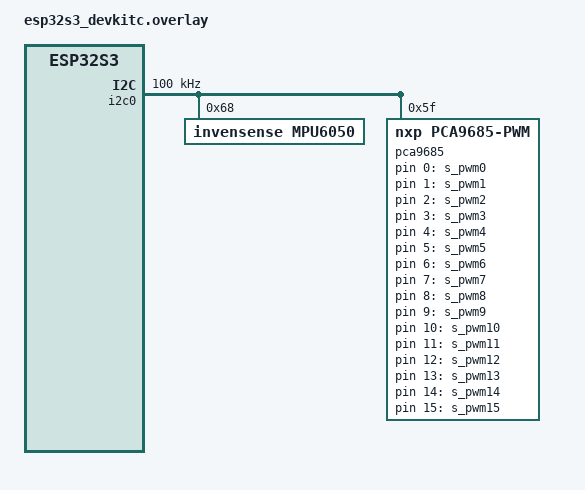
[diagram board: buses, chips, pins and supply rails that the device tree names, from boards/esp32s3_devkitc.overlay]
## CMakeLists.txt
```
set(BOARD nucleo_wl55jc)
cmake_minimum_required(VERSION 3.20.0)

find_package(Zephyr)
project(adeept_2wheelbot_zephyr)

# Option to choose between training mode and inference mode
option(USE_INFERENCE_MODE "Use pre-trained model inference instead of training" ON)

if(USE_INFERENCE_MODE)
    # Inference mode - uses pre-trained model
    message(STATUS "Building in INFERENCE mode - using pre-trained model")
    target_sources(app PRIVATE 
        src/main_inference.cpp 
        src/Motor.cpp
    )
else()
    # Training mode - trains on device
    message(STATUS "Building in TRAINING mode - trains on device")
    target_sources(app PRIVATE 
        src/main.cpp 
        src/DQNAgent.cpp 
        src/Motor.cpp
    )
endif()

# If you have any header files to include as well, 
# and they are not in your include path, you can use:
target_include_directories(app PRIVATE src/)

# Add path to the web simulator models directory for easy inclusion
target_include_directories(app PRIVATE ${CMAKE_CURRENT_SOURCE_DIR}/../twowheelbot-rl-web/models/)
```

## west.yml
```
manifest:
  defaults:
    remote: upstream

  remotes:
    - name: upstream
      url-base: https://github.com/zephyrproject-rtos

  projects:
    - name: zephyr
      remote: upstream
      revision: main
      import: true

  self:
    path: adeept-2wheelbot
```

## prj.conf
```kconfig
# Copyright (c) 2021 Nordic Semiconductor ASA
# SPDX-License-Identifier: Apache-2.0
#
# This file contains selected Kconfig options for the application.

CONFIG_I2C=y
CONFIG_I2C_INIT_PRIORITY=50
CONFIG_I2C_ESP32=y
CONFIG_SENSOR=y  
CONFIG_MPU6050=y
CONFIG_MPU6050_TRIGGER_NONE=y
CONFIG_CBPRINTF_FP_SUPPORT=y
CONFIG_LOG=y
CONFIG_I2C_LOG_LEVEL_DBG=y
CONFIG_SENSOR_LOG_LEVEL_DBG=y
CONFIG_PWM=y
CONFIG_PWM_PCA9685=y
CONFIG_CPP=y
CONFIG_STATIC_INIT_GNU=y

# Console support for manual control
CONFIG_CONSOLE=y
CONFIG_CONSOLE_SUBSYS=y
CONFIG_CONSOLE_GETCHAR=y

# UART configuration for serial data output
CONFIG_UART_CONSOLE=y
CONFIG_SERIAL=y

# Increase shell buffer for data logging (if shell is used)
# CONFIG_SHELL_BACKEND_SERIAL_TX_RING_BUFFER_SIZE=512

# Enable floating point printf for data output
CONFIG_NEWLIB_LIBC=y
CONFIG_NEWLIB_LIBC_FLOAT_PRINTF=y

# Optional: Increase stack size if needed
CONFIG_MAIN_STACK_SIZE=4096
```

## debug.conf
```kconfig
# Copyright (c) 2021 Nordic Semiconductor ASA
# SPDX-License-Identifier: Apache-2.0
#
# This is a Kconfig fragment which can be used to enable debug-related options
# in the application. See the README for more details.

# compiler
CONFIG_DEBUG_OPTIMIZATIONS=y

# console
CONFIG_CONSOLE=y

# UART console
CONFIG_SERIAL=y
CONFIG_UART_CONSOLE=y

# logging
CONFIG_LOG=y
CONFIG_APP_LOG_LEVEL_DBG=y
```

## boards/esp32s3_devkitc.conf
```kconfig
# ESP32-S3 specific configuration
CONFIG_SOC_SERIES_ESP32S3=y
CONFIG_I2C_ESP32=y
CONFIG_HEAP_MEM_POOL_SIZE=32768
CONFIG_ESP_SPIRAM=n
```

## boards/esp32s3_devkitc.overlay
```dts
/*
 * ESP32-S3 DevKitC I2C/IMU/PWM Configuration
 * Enable I2C0 with MPU6050 IMU and PCA9685 PWM controller
 */

#include <dt-bindings/pinctrl/esp32s3-pinctrl.h>
#include <dt-bindings/pwm/pwm.h>

/ {
	aliases {
		i2c-0 = &i2c0;
		pwm-0 = &pca9685;
	};
};

/* Custom pinctrl for GPIO8 (SDA) and GPIO9 (SCL) */
&pinctrl {
	i2c0_custom: i2c0_custom {
		group1 {
			pinmux = <I2C0_SDA_GPIO8>,
			         <I2C0_SCL_GPIO9>;
			bias-pull-up;
			drive-open-drain;
			output-high;
		};
	};
};

/* Enable I2C0 controller */
&i2c0 {
	status = "okay";
	clock-frequency = <I2C_BITRATE_STANDARD>;
	pinctrl-0 = <&i2c0_custom>;
	pinctrl-names = "default";
	
	mpu6050: mpu6050@68 {
		status = "okay";
		compatible = "invensense,mpu6050";
		reg = <0x68>;
	};
	
	pca9685: pca9685@5f {
		status = "okay";
		compatible = "nxp,pca9685-pwm";
		reg = <0x5f>;
		#pwm-cells = <2>;
	};
};

/ {
	pwmleds {
		status = "okay";
		compatible = "pwm-leds";

		s_pwm0: s_pwm_0 {
			pwms = <&pca9685 0 PWM_MSEC(20) PWM_POLARITY_NORMAL>;
		};
		s_pwm1: s_pwm_1 {
			pwms = <&pca9685 1 PWM_MSEC(20) PWM_POLARITY_NORMAL>;
		};
		s_pwm2: s_pwm_2 {
			pwms = <&pca9685 2 PWM_MSEC(20) PWM_POLARITY_NORMAL>;
		};
		s_pwm3: s_pwm_3 {
			pwms = <&pca9685 3 PWM_MSEC(20) PWM_POLARITY_NORMAL>;
		};
		s_pwm4: s_pwm_4 {
			pwms = <&pca9685 4 PWM_MSEC(20) PWM_POLARITY_NORMAL>;
		};
		s_pwm5: s_pwm_5 {
			pwms = <&pca9685 5 PWM_MSEC(20) PWM_POLARITY_NORMAL>;
		};
		s_pwm6: s_pwm_6 {
			pwms = <&pca9685 6 PWM_MSEC(20) PWM_POLARITY_NORMAL>;
		};
		s_pwm7: s_pwm_7 {
			pwms = <&pca9685 7 PWM_MSEC(20) PWM_POLARITY_NORMAL>;
		};
		s_pwm8: s_pwm_8 {
			pwms = <&pca9685 8 PWM_MSEC(20) PWM_POLARITY_NORMAL>;
		};
		s_pwm9: s_pwm_9 {
			pwms = <&pca9685 9 PWM_MSEC(20) PWM_POLARITY_NORMAL>;
		};
		s_pwm10: s_pwm_10 {
			pwms = <&pca9685 10 PWM_MSEC(20) PWM_POLARITY_NORMAL>;
		};
		s_pwm11: s_pwm_11 {
			pwms = <&pca9685 11 PWM_MSEC(20) PWM_POLARITY_NORMAL>;
		};
		s_pwm12: s_pwm_12 {
			pwms = <&pca9685 12 PWM_MSEC(20) PWM_POLARITY_NORMAL>;
		};
		s_pwm13: s_pwm_13 {
			pwms = <&pca9685 13 PWM_MSEC(20) PWM_POLARITY_NORMAL>;
		};
		s_pwm14: s_pwm_14 {
			pwms = <&pca9685 14 PWM_MSEC(20) PWM_POLARITY_NORMAL>;
		};
		s_pwm15: s_pwm_15 {
			pwms = <&pca9685 15 PWM_MSEC(20) PWM_POLARITY_NORMAL>;
		};
	};
};
```

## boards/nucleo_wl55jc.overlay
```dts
/*
 * Copyright (c) 2021 Nordic Semiconductor ASA
 * SPDX-License-Identifier: Apache-2.0
 */

/* This devicetree overlay file will be automatically picked by the Zephyr
 * build system when building the sample for the nucleo_f302r8 board. It shows
 * how the example-application can be built on sample boards already provided
 * by Zephyr.
 */

/* I2C device example */
&i2c2 {
     mpu6050: mpu6050@68 {
      status = "okay";
      compatible = "invensense,mpu6050";
      label = "MPU6050";
      reg = <0x68>;
     };
     pca9685: pca9685@5f {
      status = "okay";
      compatible = "nxp,pca9685-pwm";
      label = "PCA9685";
      reg = <0x5f>;
      #pwm-cells = <2>;
	};
};

/ {
	pwmleds {
		status = "okay";
		compatible = "pwm-leds";

		s_pwm0: s-pwm-0 {
			pwms = <&pca9685 0 PWM_MSEC(5) PWM_POLARITY_NORMAL>;
		};
		s_pwm1: s-pwm-1 {
			pwms = <&pca9685 1 PWM_MSEC(5) PWM_POLARITY_NORMAL>;
		};
		s_pwm2: s-pwm-2 {
			pwms = <&pca9685 2 PWM_MSEC(5) PWM_POLARITY_NORMAL>;
		};
		s_pwm3: s-pwm-3 {
			pwms = <&pca9685 3 PWM_MSEC(5) PWM_POLARITY_NORMAL>;
		};
		s_pwm4: s-pwm-4 {
			pwms = <&pca9685 4 PWM_MSEC(5) PWM_POLARITY_NORMAL>;
		};
		s_pwm5: s-pwm-5 {
			pwms = <&pca9685 5 PWM_MSEC(5) PWM_POLARITY_NORMAL>;
		};
		s_pwm6: s-pwm-6 {
			pwms = <&pca9685 6 PWM_MSEC(5) PWM_POLARITY_NORMAL>;
		};
		s_pwm7: s-pwm-7 {
			pwms = <&pca9685 7 PWM_MSEC(5) PWM_POLARITY_NORMAL>;
		};
		s_pwm8: s-pwm-8 {
			pwms = <&pca9685 8 PWM_MSEC(5) PWM_POLARITY_NORMAL>;
		};
		s_pwm9: s-pwm-9 {
			pwms = <&pca9685 9 PWM_MSEC(5) PWM_POLARITY_NORMAL>;
		};
		s_pwm10: s-pwm-10 {
			pwms = <&pca9685 10 PWM_MSEC(5) PWM_POLARITY_NORMAL>;
		};
		s_pwm11: s-pwm-11 {
			pwms = <&pca9685 11 PWM_MSEC(5) PWM_POLARITY_NORMAL>;
		};
		s_pwm12: s-pwm-12 {
			pwms = <&pca9685 12 PWM_MSEC(5) PWM_POLARITY_NORMAL>;
		};
		s_pwm13: s-pwm-13 {
			pwms = <&pca9685 13 PWM_MSEC(5) PWM_POLARITY_NORMAL>;
		};
		s_pwm14: s-pwm-14 {
			pwms = <&pca9685 14 PWM_MSEC(5) PWM_POLARITY_NORMAL>;
		};
		s_pwm15: s-pwm-15 {
			pwms = <&pca9685 15 PWM_MSEC(5) PWM_POLARITY_NORMAL>;
		};
	};
};
```

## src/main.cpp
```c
/* MIT License
Copyright (c) 2024 Oren Collaco

Permission is hereby granted, free of charge, to any person obtaining a copy
of this software and associated documentation files (the "Software"), to deal
in the Software without restriction, including without limitation the rights
to use, copy, modify, merge, publish, distribute, sublicense, and/or sell
copies of the Software, and to permit persons to whom the Software is
furnished to do so, subject to the following conditions:

The above copyright notice and this permission notice shall be included in all
copies or substantial portions of the Software.

THE SOFTWARE IS PROVIDED "AS IS", WITHOUT WARRANTY OF ANY KIND, EXPRESS OR
IMPLIED, INCLUDING BUT NOT LIMITED TO THE WARRANTIES OF MERCHANTABILITY,
FITNESS FOR A PARTICULAR PURPOSE AND NONINFRINGEMENT. IN NO EVENT SHALL THE
AUTHORS OR COPYRIGHT HOLDERS BE LIABLE FOR ANY CLAIM, DAMAGES OR OTHER
LIABILITY, WHETHER IN AN ACTION OF CONTRACT, TORT OR OTHERWISE, ARISING FROM,
OUT OF OR IN CONNECTION WITH THE SOFTWARE OR THE USE OR OTHER DEALINGS IN THE
SOFTWARE.

 */

/*
 * Copyright (c) 2021 Nordic Semiconductor ASA
 * SPDX-License-Identifier: Apache-2.0
 */

#include <zephyr/kernel.h>
#include <zephyr/devicetree.h>
#include <app_version.h>
#include "stdlib.h"
#include "DQNAgent.h"
#include "Motor.h"
#include <zephyr/device.h>
#include <zephyr/drivers/sensor.h>
#include <zephyr/drivers/pwm.h>

#include <zephyr/logging/log.h>
#include <stdio.h>

LOG_MODULE_REGISTER(main, CONFIG_APP_LOG_LEVEL);

const struct device *const mpu6050 = DEVICE_DT_GET_ONE(invensense_mpu6050);

static const char *now_str(void)
{
	static char buf[16]; /* ...HH:MM:SS.MMM */
	uint32_t now = k_uptime_get_32();
	unsigned int ms = now % MSEC_PER_SEC;
	unsigned int s;
	unsigned int min;
	unsigned int h;

	now /= MSEC_PER_SEC;
	s = now % 60U;
	now /= 60U;
	min = now % 60U;
	now /= 60U;
	h = now;

	snprintf(buf, sizeof(buf), "%u:%02u:%02u.%03u",
		 h, min, s, ms);
	return buf;
}

static int process_mpu6050(const struct device *dev)
{
	struct sensor_value temperature;
	struct sensor_value accel[3];
	struct sensor_value gyro[3];
	int rc = sensor_sample_fetch(dev);

	if(rc == -EBADMSG) {
		printf("Sample fetch error: %d\n", rc);
		return rc;
	}

	if (rc == 0) {
		rc = sensor_channel_get(dev, SENSOR_CHAN_ACCEL_XYZ,
					accel);
	}
	if (rc == 0) {
		rc = sensor_channel_get(dev, SENSOR_CHAN_GYRO_XYZ,
					gyro);
	}
	if (rc == 0) {
		rc = sensor_channel_get(dev, SENSOR_CHAN_DIE_TEMP,
					&temperature);
	}
	if (rc == 0) {
		printf("[%s]:%g Cel: "
		       "  accel %f %f %f m/s/s"
		       "  gyro  %f %f %f rad/s\n",
		       now_str(),
		       sensor_value_to_double(&temperature),
		       sensor_value_to_double(&accel[0]),
		       sensor_value_to_double(&accel[1]),
		       sensor_value_to_double(&accel[2]),
		       sensor_value_to_double(&gyro[0]),
		       sensor_value_to_double(&gyro[1]),
		       sensor_value_to_double(&gyro[2]));
	} else {
		printf("sample fetch/get failed: %d\n", rc);
	}

	return rc;
}

/* rolling average function that takes buffer array reference */
float rolling_average(float *buffer, int buffer_size, float new_value) {
	float sum = 0;
	for (int i = 0; i < buffer_size - 1; i++) {
		buffer[i] = buffer[i + 1];
		sum += buffer[i];
	}
	buffer[buffer_size - 1] = new_value;
	sum += new_value;
	return sum / buffer_size;
}

// Function to find the index of the maximum element in an array
int argmax(const float* array, int size) {
    int max_index = 0;
    for (int i = 1; i < size; ++i) {
        if (array[i] > array[max_index]) {
            max_index = i;
        }
    }
    return max_index;
}

// Function to find the maximum element in an array
float max_element(const float* array, int size) {
    float max_value = array[0];
    for (int i = 1; i < size; ++i) {
        if (array[i] > max_value) {
            max_value = array[i];
        }
    }
    return max_value;
}

#define ROLLING_AVERAGE_SIZE 8

int get_angle(const struct device *dev, float& angle){
	// Get the angle from the MPU6050
	struct sensor_value accel[3];
	static float angle_hist[ROLLING_AVERAGE_SIZE];
	int rc = sensor_sample_fetch(dev);

	if(rc == -EBADMSG) {
		printf("MP6050 fetch error: %d\n", rc);
		return rc;
	}

	if (rc == 0) {
		rc = sensor_channel_get(dev, SENSOR_CHAN_ACCEL_XYZ,
					accel);
		angle = rolling_average(angle_hist, ROLLING_AVERAGE_SIZE, sensor_value_to_double(&accel[1])/12.0);	
	}
	return 0;

}

int get_angular_velocity(const struct device *dev, float& angle_velocity){
	// Get the angular velocity from the MPU6050
	struct sensor_value gyro[3];
    static float angle_velocity_hist[ROLLING_AVERAGE_SIZE];
	int rc = sensor_sample_fetch(dev);

	if(rc == -EBADMSG) {
		printf("MP6050 fetch error: %d\n", rc);
		return rc;
	}

	if (rc == 0) {
		rc = sensor_channel_get(dev, SENSOR_CHAN_GYRO_XYZ,
					gyro);
		angle_velocity = rolling_average(angle_velocity_hist, ROLLING_AVERAGE_SIZE, sensor_value_to_double(&gyro[0])/6.0);	
	}
	return 0;
}

void get_next_state(float action[NUM_OUTPUTS], float next_state[NUM_INPUTS]) {
    // Calculate the motor speeds based on the action
    float motor_left = action[0] * 1000;
    float motor_right = action[1] * 1000;

    // Apply the motor speeds to the robot and wait for a short duration
    set_motor_speed((int16_t)motor_left, (int16_t)motor_right);
    k_sleep(K_MSEC(20));

    // Get the updated tilt angle and angular velocity after applying the action
    float updated_tilt_angle, updated_angular_velocity;
    get_angle(mpu6050, updated_tilt_angle);
    get_angular_velocity(mpu6050, updated_angular_velocity);

    // Store the updated state in the next_state array
    next_state[0] = updated_tilt_angle;
    next_state[1] = updated_angular_velocity;
}

void get_state(float state[NUM_INPUTS]) {
    // Get the tilt angle and angular velocity after applying the action
    float updated_tilt_angle, updated_angular_velocity;
    get_angle(mpu6050, updated_tilt_angle);
    get_angular_velocity(mpu6050, updated_angular_velocity);

    // Store the updated state in the next_state array
    state[0] = updated_tilt_angle;
    state[1] = updated_angular_velocity;
}

#ifdef CONFIG_MPU6050_TRIGGER
static struct sensor_trigger trigger;

static void handle_mpu6050_drdy(const struct device *dev,
				const struct sensor_trigger *trig)
{
	int rc = process_mpu6050(dev);

	if (rc != 0) {
		printf("cancelling trigger due to failure: %d\n", rc);
		(void)sensor_trigger_set(dev, trig, NULL);
		return;
	}
}
#endif /* CONFIG_MPU6050_TRIGGER */

const int NUM_EPISODES = 10000000;
const float LEARNING_RATE = 0.00001;
const float DISCOUNT_FACTOR = 0.90;
const int MAX_STEPS = 2;
const int MAX_TRANSITIONS = MAX_STEPS;
const float MIN_TILT_ANGLE = -30.0;
const float MAX_TILT_ANGLE = 30.0;

const float BETA1 = 0.9;
const float BETA2 = 0.999;
const float EPSILON = 0.01;

struct Transition {
	float state[NUM_INPUTS];
	float action[NUM_OUTPUTS];
	float reward;
	float next_state[NUM_INPUTS];
};

Transition transitions[MAX_TRANSITIONS];
DQNAgent agent(LEARNING_RATE, BETA1, BETA2, EPSILON);

int main(void)
{
	int ret;

	printf("Zephyr Adeept 2Wheel %s\n", APP_VERSION_STRING);

	agent.initialize(LEARNING_RATE, BETA1, BETA2, EPSILON);
	agent.print_stats();

	

	if (!device_is_ready(mpu6050)) {
		printf("Device %s is not ready. waiting...\n", mpu6050->name);
		while(!device_is_ready(mpu6050));
	}
	printf(" %s ready\n", mpu6050->name);

	initialize_pwm_driver();
	
	for (int i = 0; i < 20; i++) {
		int rc = 0;

		/* Print angle and angular velocity */
		float angle, angular_velocity;
		get_angle(mpu6050, angle);
		get_angular_velocity(mpu6050, angular_velocity);
		printf("Angle: %f, Angular Velocity: %f\n", angle, angular_velocity);

		set_motor_speed(0, 0);

		if (rc != 0) {
			break;
		}
		k_sleep(K_MSEC(20));
	}

	#ifdef CONFIG_MPU6050_TRIGGER
		trigger = (struct sensor_trigger) {
			.type = SENSOR_TRIG_DATA_READY,
			.chan = SENSOR_CHAN_ALL,
		};
		if (sensor_trigger_set(mpu6050, &trigger,
					handle_mpu6050_drdy) < 0) {
			printf("Cannot configure trigger\n");
			return 0;
		}
		printk("Configured for triggered sampling.\n");
	#endif
	
	int num_transitions = 0;

	///while(1);
	uint32_t start_time, end_time, train_time, inference_time;

	for (int episode = 0; episode < NUM_EPISODES; ++episode) {
        // Reset the environment (e.g., set the robot to a known initial state)
        // reset_robot();

        float tilt_angle, angular_velocity;
        float state[NUM_INPUTS];
        float action[NUM_OUTPUTS];
        float reward;
		bool is_episode_done = false;
		float error, old_error, error_change = 0.0;
		int count = 0;
        // Run the episode until a termination condition is met
        while (!is_episode_done) {
            // Get the current tilt angle and angular velocity from the MPU6050 sensor
            get_angle(mpu6050, tilt_angle);
            get_angular_velocity(mpu6050, angular_velocity);

            // Prepare the state input for the DQNAgent
            state[0] = tilt_angle;
            state[1] = angular_velocity;

            // Get the action from the DQNAgent
            agent.forward(state, action);

            // Scale the action outputs to motor speeds
            float motor_left = action[0] * 1000;
            float motor_right = action[1] * 1000;
        
            // Set the motor speeds and wait for the robot to move
            set_motor_speed((int16_t)motor_left, (int16_t)motor_right);
            k_sleep(K_MSEC(20));

            // Get the next state after taking the action
            float next_state[NUM_INPUTS];
            get_state(next_state);

			// Get the new action for training
			float next_action[NUM_OUTPUTS];
			agent.forward(next_state, next_action);

			float targets[NUM_OUTPUTS];

			// Calculate the reward based on the tilt angle and angular velocity
            reward = 0.0;
			/* calculate the difference in error after 3 iterations using count */
			// if (count == 0) {
			// 	old_error = next_state[0] - 0.115f;
			// 	if(old_error < 0)
			// 		old_error = -old_error;
			// }
			// count++;
			// if (count == 2) {
			// 	count = 0;
			// 	error = next_state[0] - 0.115;
			// 	if(error < 0)
			// 		error = -error;
			// 	error_change = old_error - error;
			// }

			// if(error_change < 0)
			// 	reward = -0.5;
			// else
			// 	reward = 0.2;
            if (abs(next_state[1]) < 0.1) {
				reward += 0.1; // Small positive reward for keeping angular velocity minimal
			} 
			else {
				reward -= 0.1; // Small negative reward for increasing angular velocity
			}
			error = next_state[0] - 0.115f;
			/* if error is +ve and moving forward = bad */
			if (error > 0 && next_action[0] > 0.0) {	
				reward -= 0.1;
				targets[0] = -0.4;
			/* if error is +ve and moving back = good */
			} else if (error > 0 && next_action[0] < 0.0) {
				reward += 0.1;
				targets[0] = next_action[0];
			/* if error is -ve and moving forward = good */
			} else if (error < 0 && next_action[0] > 0.0) {
				reward += 0.1;
				targets[0] = next_action[0];
			/* if error is -ve and moving back = bad */
			} else if (error < 0 && next_action[0] < 0.0) {
				reward -= 0.1;
				targets[0] = 0.4;
			}
			
            if (next_state[0] > 0.10 && next_state[0] < 0.13) {
                reward += 0.1;  // Positive reward for keeping the tilt angle in desired range
            } else if (next_state[0] < 0.10 || next_state[0] > 0.13) {
                reward -= 0.1;  // Negative reward for exceeding the tilt angle range
            }

			/* print input, motor values and reward */
			printf("Angle: %f, Angular Velocity: %f, Motor Left: %f, Motor Right: %f, Reward: %f, Error: %f\n", tilt_angle, angular_velocity, motor_left, motor_right, reward, error);
		
            // // Get the Q-values for the next state
            // float next_q_values[NUM_OUTPUTS];
            // agent.forward(next_state, next_q_values);

            // Calculate the target Q-value for the current state-action pair
            // float target_q_value = reward + DISCOUNT_FACTOR * *std::max_element(next_q_values, next_q_values + NUM_OUTPUTS);

            // Prepare the target Q-values for training
            //float targets[NUM_OUTPUTS];
            // for (int i = 0; i < NUM_OUTPUTS; ++i) {
            //     //targets[i] = reward + current_q_values[i] * DISCOUNT_FACTOR;
            //     targets[i] = current_q_values[i] * DISCOUNT_FACTOR;

            // }

            // Train the DQNAgent with the current state, targets, and reward
            agent.train(state, targets, reward);
        }

        printf("Episode %d completed\n", episode + 1);
    }

	return 0;
}
```

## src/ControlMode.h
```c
/**
 * Control Mode Selector for Two-Wheel Balancing Robot
 * 
 * Allows switching between different control algorithms:
 * - PID with Kalman filtering
 * - DQN (Deep Q-Network) 
 * - Manual control
 */

#ifndef CONTROL_MODE_H
#define CONTROL_MODE_H

enum class ControlMode {
    PID_MODE,     // PID controller with Kalman filter (default)
    DQN_MODE,     // Deep Q-Network trained model
    MANUAL_MODE,  // Direct manual control
    DISABLED      // Motors disabled for safety
};

class ControlModeManager {
private:
    ControlMode current_mode;
    ControlMode previous_mode;
    bool mode_changed;
    
public:
    ControlModeManager() {
        current_mode = ControlMode::PID_MODE;  // Default to PID as requested
        previous_mode = ControlMode::PID_MODE;
        mode_changed = false;
    }
    
    /**
     * Set control mode
     */
    void setMode(ControlMode mode) {
        if (mode != current_mode) {
            previous_mode = current_mode;
            current_mode = mode;
            mode_changed = true;
        }
    }
    
    /**
     * Get current control mode
     */
    ControlMode getMode() const {
        return current_mode;
    }
    
    /**
     * Get previous control mode
     */
    ControlMode getPreviousMode() const {
        return previous_mode;
    }
    
    /**
     * Check if mode has changed since last check
     */
    bool hasChanged() {
        bool changed = mode_changed;
        mode_changed = false;
        return changed;
    }
    
    /**
     * Get mode name as string for logging
     */
    const char* getModeName() const {
        switch (current_mode) {
            case ControlMode::PID_MODE:
                return "PID";
            case ControlMode::DQN_MODE:
                return "DQN";
            case ControlMode::MANUAL_MODE:
                return "MANUAL";
            case ControlMode::DISABLED:
                return "DISABLED";
            default:
                return "UNKNOWN";
        }
    }
    
    /**
     * Toggle between PID and DQN modes
     */
    void toggleMode() {
        if (current_mode == ControlMode::PID_MODE) {
            setMode(ControlMode::DQN_MODE);
        } else if (current_mode == ControlMode::DQN_MODE) {
            setMode(ControlMode::PID_MODE);
        }
    }
    
    /**
     * Emergency stop - disable motors
     */
    void emergencyStop() {
        setMode(ControlMode::DISABLED);
    }
    
    /**
     * Resume from emergency stop
     */
    void resume() {
        if (current_mode == ControlMode::DISABLED) {
            setMode(previous_mode);
        }
    }
    
    /**
     * Check if motors should be active
     */
    bool isMotorControlActive() const {
        return current_mode != ControlMode::DISABLED;
    }
};

#endif // CONTROL_MODE_H
```

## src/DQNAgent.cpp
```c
// DQNAgent.cpp
#include "DQNAgent.h"
#include "math.h"
#include <stdio.h>


float DQNAgent::random() {
    // Function to approximate randomness with added fluctuation
    random_value += random_step;
    
    // Generate a pseudo-random value using a simple linear congruential generator
    random_seed = (1103515245 * random_seed + 12345) % 2147483648;
    float random_float = 0.0;
    if (random_seed != 0) {
        random_float = static_cast<float>(random_seed) / 2147483648.0;
    }
    
    // Add a random fluctuation to the step size
    float fluctuation = random_float * random_fluctuation * 2 - random_fluctuation;
    random_value += fluctuation;
    
    // Wrap around if random_value exceeds 1.0 or falls below 0.0
    if (random_value >= 1.0) {
        random_value = random_value - 1.0;
    } else if (random_value < 0.0) {
        random_value = 1.0 + random_value;
    }
    
    return random_value;
}

DQNAgent::DQNAgent(float lr, float b1, float b2, float eps)
    : learning_rate(lr), beta1(b1), beta2(b2), epsilon(eps) {
    // Initialize weights with random values from a normal distribution
    initialize(lr, b1, b2, eps);
}

void DQNAgent::initialize(float lr, float b1, float b2, float eps) {
    learning_rate = lr;
    beta1 = b1;
    beta2 = b2;
    epsilon = eps;
    random_value = 0.1;
    random_step = 0.1;
    random_fluctuation = 0.05;
    random_seed = 1;

    // other initialization
    replay_buffer_size = 0;
    update_counter = 0;
    

    for (int i = 0; i < NUM_LAYERS; ++i) {
        int input_size = (i == 0) ? NUM_INPUTS : NEURONS_PER_LAYER;
        int output_size = (i == NUM_LAYERS - 1) ? NUM_OUTPUTS : NEURONS_PER_LAYER;

        for (int j = 0; j < input_size; ++j) {
            for (int k = 0; k < output_size; ++k) {
                weights[i][j][k] = random();
            }
        }
        // Initialize biases to zero
        for (int k = 0; k < output_size; ++k) {
            biases[i][k] = 0.0;
        }
    }
    // Initialize target network weights and biases
    for (int i = 0; i < NUM_LAYERS; ++i) {
        int input_size = (i == 0) ? NUM_INPUTS : NEURONS_PER_LAYER;
        int output_size = (i == NUM_LAYERS - 1) ? NUM_OUTPUTS : NEURONS_PER_LAYER;

        for (int j = 0; j < input_size; ++j) {
            for (int k = 0; k < output_size; ++k) {
                target_weights[i][j][k] = weights[i][j][k];
            }
        }
        for (int k = 0; k < output_size; ++k) {
            target_biases[i][k] = biases[i][k];
        }
    }
}

#ifdef STATS_PRINT
/* Function to print weights and biases */
void DQNAgent::print_stats() {
    /* print all variables */
    printf("learning_rate: %f\n", learning_rate);
    printf("beta1: %f\n", beta1);
    printf("beta2: %f\n", beta2);
    printf("epsilon: %f\n", epsilon);
    printf("random_value: %f\n", random_value);
    printf("random_step: %f\n", random_step);
    printf("random_fluctuation: %f\n", random_fluctuation);
    printf("random_seed: %d\n", random_seed);
    printf("update_counter: %d\n", update_counter);
    printf("replay_buffer_size: %d\n", replay_buffer_size);
    printf("REPLAY_BUFFER_CAPACITY: %d\n", REPLAY_BUFFER_CAPACITY);
    printf("MINIBATCH_SIZE: %d\n", MINIBATCH_SIZE);
    printf("TARGET_UPDATE_FREQ: %d\n", TARGET_UPDATE_FREQ);
    printf("EPSILON_DECAY: %f\n", EPSILON_DECAY);
    printf("MIN_EPSILON: %f\n", MIN_EPSILON);
    printf("LEARNING_RATE_DECAY: %f\n", LEARNING_RATE_DECAY);
    printf("MIN_LEARNING_RATE: %f\n", MIN_LEARNING_RATE);

    for (int i = 0; i < NUM_LAYERS; ++i) {
        int input_size = (i == 0) ? NUM_INPUTS : NEURONS_PER_LAYER;
        int output_size = (i == NUM_LAYERS - 1) ? NUM_OUTPUTS : NEURONS_PER_LAYER;

        for (int j = 0; j < input_size; ++j) {
            for (int k = 0; k < output_size; ++k) {
                printf(" W%d%d%d %f", i, j, k, weights[i][j][k]);
            }
            printf("\n");
        }
    }
    for (int i = 0; i < NUM_LAYERS; ++i) {
        int output_size = (i == NUM_LAYERS - 1) ? NUM_OUTPUTS : NEURONS_PER_LAYER;

        for (int k = 0; k < output_size; ++k) {
            printf(" B%d%d %f", i, k, biases[i][k]);
        }
        printf("\n");
    }
}
#endif

float DQNAgent::forward(const float inputs[NUM_INPUTS], float outputs[NUM_OUTPUTS]) {
    float activations[NUM_LAYERS + 1][NEURONS_PER_LAYER];
    for (int i = 0; i < NUM_INPUTS; ++i) {
        activations[0][i] = inputs[i];
    }

    for (int i = 0; i < NUM_LAYERS; ++i) {
        int input_size = (i == 0) ? NUM_INPUTS : NEURONS_PER_LAYER;
        int output_size = (i == NUM_LAYERS - 1) ? NUM_OUTPUTS : NEURONS_PER_LAYER;

        for (int k = 0; k < output_size; ++k) {
            activations[i + 1][k] = 0.0;
            for (int j = 0; j < input_size; ++j) {
                activations[i + 1][k] += activations[i][j] * weights[i][j][k];
            }
            activations[i + 1][k] += biases[i][k];
            activations[i + 1][k] = (i == NUM_LAYERS - 1) ? activations[i + 1][k] : tanh(activations[i + 1][k]);
        }
    }

    for (int i = 0; i < NUM_OUTPUTS; ++i) {
        outputs[i] = activations[NUM_LAYERS][i];
    }

    const float EPSILON = 1e-8;

    for (int i = 0; i < NUM_OUTPUTS; ++i) {
        // Apply sigmoid activation function to the output
        outputs[i] = 1.0 / (1.0 + exp(-activations[NUM_LAYERS][i]) + EPSILON);
        
        // Scale the output from (0, 1) to (-1, 1)
        outputs[i] = 2.0 * outputs[i] - 1.0;
    }

    return 0;
}

void DQNAgent::train(const float inputs[NUM_INPUTS], const float targets[NUM_OUTPUTS], float reward) {
    // Store current transition in replay buffer
    for (int i = 0; i < NUM_INPUTS; ++i) {
        replay_buffer[replay_buffer_size].inputs[i] = inputs[i];
    }
    for (int i = 0; i < NUM_OUTPUTS; ++i) {
        replay_buffer[replay_buffer_size].targets[i] = targets[i];
    }
    replay_buffer[replay_buffer_size].reward = reward;
    replay_buffer_size++;

    // If replay buffer is full, overwrite the oldest transition
    if (replay_buffer_size >= REPLAY_BUFFER_CAPACITY) {
        replay_buffer_size = 0;
    }

    // Sample a random minibatch of transitions from the replay buffer
    int minibatch_indices[MINIBATCH_SIZE];
    for (int i = 0; i < MINIBATCH_SIZE; ++i) {
        //minibatch_indices[i] = rand() % MIN(replay_buffer_size, REPLAY_BUFFER_CAPACITY);
        /* use recent */
        minibatch_indices[i] = (replay_buffer_size - MINIBATCH_SIZE + i + REPLAY_BUFFER_CAPACITY) % REPLAY_BUFFER_CAPACITY;
    }

    // Perform Q-learning updates on the minibatch
    for (int i = 0; i < MINIBATCH_SIZE; ++i) {
        int idx = minibatch_indices[i];
        float activations[NUM_LAYERS + 1][NEURONS_PER_LAYER];
        for (int j = 0; j < NUM_INPUTS; ++j) {
            activations[0][j] = replay_buffer[idx].inputs[j];
        }

        for (int j = 0; j < NUM_LAYERS; ++j) {
            int input_size = (j == 0) ? NUM_INPUTS : NEURONS_PER_LAYER;
            int output_size = (j == NUM_LAYERS - 1) ? NUM_OUTPUTS : NEURONS_PER_LAYER;

            for (int k = 0; k < output_size; ++k) {
                activations[j + 1][k] = 0.0;
                for (int m = 0; m < input_size; ++m) {
                    activations[j + 1][k] += activations[j][m] * weights[j][m][k];
                }
                activations[j + 1][k] += biases[j][k];
                activations[j + 1][k] = (j == NUM_LAYERS - 1) ? activations[j + 1][k] : tanh(activations[j + 1][k]);
            }
        }

        float deltas[NUM_LAYERS][NEURONS_PER_LAYER];
        for (int j = NUM_LAYERS - 1; j >= 0; --j) {
            int output_size = (j == NUM_LAYERS - 1) ? NUM_OUTPUTS : NEURONS_PER_LAYER;

            for (int k = 0; k < output_size; ++k) {
                if (j == NUM_LAYERS - 1) {
                    // Use target network for Q-value estimation
                    float target_value = 0.0;
                    for (int m = 0; m < NUM_OUTPUTS; ++m) {
                        target_value += replay_buffer[idx].targets[m] * target_weights[j][k][m];
                    }
                    target_value += target_biases[j][k];
                    deltas[j][k] = (target_value - activations[j + 1][k]) * replay_buffer[idx].reward;
                } else {
                    deltas[j][k] = 0.0;
                    for (int m = 0; m < NEURONS_PER_LAYER; ++m) {
                        deltas[j][k] += deltas[j + 1][m] * weights[j + 1][k][m] * (1 - pow(activations[j + 1][k], 2));
                    }
                }
            }
        }

        // Clip gradients to prevent exploding gradients
        for (int j = 0; j < NUM_LAYERS; ++j) {
            int output_size = (j == NUM_LAYERS - 1) ? NUM_OUTPUTS : NEURONS_PER_LAYER;
            for (int k = 0; k < output_size; ++k) {
                deltas[j][k] = MAX(MIN(deltas[j][k], 1.0f), -1.0f);
            }
        }

        // Update weights and biases using Adam optimization
        for (int j = 0; j < NUM_LAYERS; ++j) {
            int input_size = (j == 0) ? NUM_INPUTS : NEURONS_PER_LAYER;
            int output_size = (j == NUM_LAYERS - 1) ? NUM_OUTPUTS : NEURONS_PER_LAYER;

            for (int k = 0; k < input_size; ++k) {
                for (int m = 0; m < output_size; ++m) {
                    m_weights[j][k][m] = beta1 * m_weights[j][k][m] + (1 - beta1) * deltas[j][m] * activations[j][k];
                    v_weights[j][k][m] = beta2 * v_weights[j][k][m] + (1 - beta2) * pow(deltas[j][m] * activations[j][k], 2);
                    weights[j][k][m] += learning_rate * m_weights[j][k][m] / (sqrt(v_weights[j][k][m] + epsilon) + epsilon);
                }
            }
            for (int m = 0; m < output_size; ++m) {
                m_biases[j][m] = beta1 * m_biases[j][m] + (1 - beta1) * deltas[j][m];
                v_biases[j][m] = beta2 * v_biases[j][m] + (1 - beta2) * pow(deltas[j][m], 2);
                biases[j][m] += learning_rate * m_biases[j][m] / (sqrt(v_biases[j][m] + epsilon) + epsilon);
            }
        }
    }

    // Update target network weights periodically
    if (update_counter % TARGET_UPDATE_FREQ == 0) {
        for (int i = 0; i < NUM_LAYERS; ++i) {
            int input_size = (i == 0) ? NUM_INPUTS : NEURONS_PER_LAYER;
            int output_size = (i == NUM_LAYERS - 1) ? NUM_OUTPUTS : NEURONS_PER_LAYER;

            for (int j = 0; j < input_size; ++j) {
                for (int k = 0; k < output_size; ++k) {
                    target_weights[i][j][k] = weights[i][j][k];
                }
            }
            for (int k = 0; k < output_size; ++k) {
                target_biases[i][k] = biases[i][k];
            }
        }
    }
    update_counter++;

    // Decay epsilon over time to reduce exploration
    epsilon = MAX(epsilon * EPSILON_DECAY, MIN_EPSILON);
    // Decay learning rate over time
    learning_rate = MAX(learning_rate * LEARNING_RATE_DECAY, MIN_LEARNING_RATE);
}
```

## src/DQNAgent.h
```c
// DQNAgent.h
#ifndef DQNAGENT_H
#define DQNAGENT_H

#define NUM_INPUTS 2
#define NUM_OUTPUTS 2
#define NUM_LAYERS 3
#define NEURONS_PER_LAYER 24

#define REPLAY_BUFFER_CAPACITY 2
#define MINIBATCH_SIZE 4
#define TARGET_UPDATE_FREQ 16

// Variables for epsilon-greedy exploration
#define EPSILON_DECAY 0.995
#define MIN_EPSILON 0.3

// Variables for learning rate decay
#define LEARNING_RATE_DECAY  0.99
#define MIN_LEARNING_RATE 0.001

#define STATS_PRINT
// #define DEBUG_PRINT

#include "stdlib.h"
#include <zephyr/sys/util.h>

class DQNAgent {
private:
    float weights[NUM_LAYERS][NEURONS_PER_LAYER][NEURONS_PER_LAYER];
    float biases[NUM_LAYERS][NEURONS_PER_LAYER];
    float m_weights[NUM_LAYERS][NEURONS_PER_LAYER][NEURONS_PER_LAYER];
    float v_weights[NUM_LAYERS][NEURONS_PER_LAYER][NEURONS_PER_LAYER];
    float m_biases[NUM_LAYERS][NEURONS_PER_LAYER];
    float v_biases[NUM_LAYERS][NEURONS_PER_LAYER];
    float learning_rate;
    float beta1;
    float beta2;
    float epsilon;

        // Variables for target network
    float target_weights[NUM_LAYERS][NEURONS_PER_LAYER][NEURONS_PER_LAYER];
    float target_biases[NUM_LAYERS][NEURONS_PER_LAYER];

public:
    // Variables for experience replay
    struct Transition {
        float inputs[NUM_INPUTS];
        float targets[NUM_OUTPUTS];
        float reward;
    };
    Transition replay_buffer[1000];
    int replay_buffer_size = 0;

    
    int update_counter = 0;

    // Variables for random number generation
    float random_value = 0.1;
    float random_step = 0.1;
    float random_fluctuation = 0.05;
    int random_seed = 1;

    DQNAgent(float lr, float b1, float b2, float eps);
    float forward(const float inputs[NUM_INPUTS], float outputs[NUM_OUTPUTS]);
    void train(const float inputs[NUM_INPUTS], const float targets[NUM_OUTPUTS], float reward);
    void initialize(float lr, float b1, float b2, float eps);
    float random();
    #ifdef STATS_PRINT
    void print_stats();
    #endif
};

#endif
```

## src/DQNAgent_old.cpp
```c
// DQNAgent.cpp
#include "DQNAgent.h"
#include "math.h"
#include <stdio.h>

float DQNAgent::random() {
    // Implementation of a random number generator
    return 2.5;
}

DQNAgent::DQNAgent(float lr, float b1, float b2, float eps)
    : learning_rate(lr), beta1(b1), beta2(b2), epsilon(eps) {
    for (int i = 0; i < NUM_LAYERS; ++i) {
        int input_size = (i == 0) ? NUM_INPUTS : NEURONS_PER_LAYER;
        int output_size = (i == NUM_LAYERS - 1) ? NUM_OUTPUTS : NEURONS_PER_LAYER;

        for (int j = 0; j < input_size; ++j) {
            for (int k = 0; k < output_size; ++k) {
                weights[i][j][k] = 0.55;
            }
        }
    }
    //print weights for debugging
    #ifdef DEBUG_PRINT
    for (int i = 0; i < NUM_LAYERS; ++i) {
        int input_size = (i == 0) ? NUM_INPUTS : NEURONS_PER_LAYER;
        int output_size = (i == NUM_LAYERS - 1) ? NUM_OUTPUTS : NEURONS_PER_LAYER;

        for (int j = 0; j < input_size; ++j) {
            for (int k = 0; k < output_size; ++k) {
                printf(" W%d%d%d %f", i, j, k, weights[i][j][k]);
            }
            printf("\n");
        }
    }
    #endif

}

void DQNAgent::initialize(float lr, float b1, float b2, float eps) {
    learning_rate = lr;
    beta1 = b1;
    beta2 = b2;
    epsilon = eps;
    for (int i = 0; i < NUM_LAYERS; ++i) {
        int input_size = (i == 0) ? NUM_INPUTS : NEURONS_PER_LAYER;
        int output_size = (i == NUM_LAYERS - 1) ? NUM_OUTPUTS : NEURONS_PER_LAYER;

        for (int j = 0; j < input_size; ++j) {
            for (int k = 0; k < output_size; ++k) {
                weights[i][j][k] = 0.50;
            }
        }
    }
}


#ifdef STATS_PRINT
/* Function to print weights and biases */
void DQNAgent::print_stats() {
    
    for (int i = 0; i < NUM_LAYERS; ++i) {
        int input_size = (i == 0) ? NUM_INPUTS : NEURONS_PER_LAYER;
        int output_size = (i == NUM_LAYERS - 1) ? NUM_OUTPUTS : NEURONS_PER_LAYER;

        for (int j = 0; j < input_size; ++j) {
            for (int k = 0; k < output_size; ++k) {
                printf(" W%d%d%d %f", i, j, k, weights[i][j][k]);
            }
            printf("\n");
        }
    }
    for (int i = 0; i < NUM_LAYERS; ++i) {
        int output_size = (i == NUM_LAYERS - 1) ? NUM_OUTPUTS : NEURONS_PER_LAYER;

        for (int k = 0; k < output_size; ++k) {
            printf(" B%d%d %f", i, k, biases[i][k]);
        }
        printf("\n");
    }
   
}
 #endif

float DQNAgent::forward(const float inputs[NUM_INPUTS], float outputs[NUM_OUTPUTS]) {
    float activations[NUM_LAYERS + 1][NEURONS_PER_LAYER];
    for (int i = 0; i < NUM_INPUTS; ++i) {
        activations[0][i] = inputs[i];
    }

    for (int i = 0; i < NUM_LAYERS; ++i) {
        // Determine the size of input and output for each layer.
        int input_size = (i == 0) ? NUM_INPUTS : NEURONS_PER_LAYER;
        int output_size = (i == NUM_LAYERS - 1) ? NUM_OUTPUTS : NEURONS_PER_LAYER;

        for (int k = 0; k < output_size; ++k) {
            activations[i + 1][k] = 0.0; // Initialize the current neuron's activation to zero.
            for (int j = 0; j < input_size; ++j) {
                // Sum the weighted activations from the previous layer.
                //print weights for debugging
                #ifdef DEBUG_PRINT
                printf(" W%d%d%d %f", i, j, k, weights[i][j][k]);
                #endif
                activations[i + 1][k] += activations[i][j] * weights[i][j][k];
            }
            //print new line for debugging
            #ifdef DEBUG_PRINT
            printf("\n");
            #endif

            activations[i + 1][k] += biases[i][k]; // Add bias to the current neuron.
            // Apply the 'tanh' activation function, except for the output layer.
            // print activations for debugging
            #ifdef DEBUG_PRINT
            printf(" A%d%d %f", i, k, activations[i + 1][k]);
            #endif
            activations[i + 1][k] = (i == NUM_LAYERS - 1) ? activations[i + 1][k] : tanh(activations[i + 1][k]);
        }
        #ifdef DEBUG_PRINT
        printf("\n");
        #endif
    }

    for (int i = 0; i < NUM_OUTPUTS; ++i) {
        outputs[i] = activations[NUM_LAYERS][i];
    }

    // Calculate reward based on angular velocity
    float angle = inputs[0];
    float angular_velocity = inputs[1];
    float reward = 0.0;
    // if (abs(angular_velocity) < 0.1) {
    //     reward = 1.0;  // Positive reward for keeping angular velocity minimal
    // } else {
    //     reward = -1.0;  // Negative reward for increasing angular velocity
    // }
    // more positive reward for keeping the tilt angle between 0.11 and 0.12
    if (angle > 0.11 && angle < 0.12) {
        reward += 1.0;
    }
    // more negative reward for exceeding the tilt angle range
    if (angle < 0.10 || angle > 0.13) {
        reward -= 1.0;
    }
    // // Check if the tilt angle is within the defined range
    // float tilt_angle = inputs[0];
    // const float TILT_ANGLE_MIN = -30.0;
    // const float TILT_ANGLE_MAX = 30.0;
    // if (tilt_angle < TILT_ANGLE_MIN || tilt_angle > TILT_ANGLE_MAX) {
    //     reward = -10.0;  // Large negative reward for exceeding tilt angle range
    // }
    //print reward for debugging
    #ifdef DEBUG_PRINT
    printf("Reward: %f\n", reward);
    #endif
    return reward;
}

void DQNAgent::train(const float inputs[NUM_INPUTS], const float targets[NUM_OUTPUTS], float reward) {
    float activations[NUM_LAYERS + 1][NEURONS_PER_LAYER];
    for (int i = 0; i < NUM_INPUTS; ++i) {
        activations[0][i] = inputs[i];
    }

    for (int i = 0; i < NUM_LAYERS; ++i) {
        int input_size = (i == 0) ? NUM_INPUTS : NEURONS_PER_LAYER;
        int output_size = (i == NUM_LAYERS - 1) ? NUM_OUTPUTS : NEURONS_PER_LAYER;

        for (int k = 0; k < output_size; ++k) {
            activations[i + 1][k] = 0.0;
            for (int j = 0; j < input_size; ++j) {
                activations[i + 1][k] += activations[i][j] * weights[i][j][k];
            }
            activations[i + 1][k] += biases[i][k];
            activations[i + 1][k] = (i == NUM_LAYERS - 1) ? activations[i + 1][k] : tanh(activations[i + 1][k]);
        }
    }

    float deltas[NUM_LAYERS][NEURONS_PER_LAYER];
    for (int i = NUM_LAYERS - 1; i >= 0; --i) {
        int output_size = (i == NUM_LAYERS - 1) ? NUM_OUTPUTS : NEURONS_PER_LAYER;

        for (int j = 0; j < output_size; ++j) {
            if (i == NUM_LAYERS - 1) {
                deltas[i][j] = (targets[j] - activations[i + 1][j]) * reward;
            } else {
                deltas[i][j] = 0.0;
                for (int k = 0; k < NEURONS_PER_LAYER; ++k) {
                    deltas[i][j] += deltas[i + 1][k] * weights[i + 1][j][k] * (1 - pow(activations[i + 1][j], 2));
                    #ifdef DEBUG_PRINT
                    printf(" D%d%d %f", i, j, deltas[i][j]);
                    #endif
                }
            }
        }
    }

    for (int i = 0; i < NUM_LAYERS; ++i) {
        int input_size = (i == 0) ? NUM_INPUTS : NEURONS_PER_LAYER;
        int output_size = (i == NUM_LAYERS - 1) ? NUM_OUTPUTS : NEURONS_PER_LAYER;

        for (int j = 0; j < input_size; ++j) {
            for (int k = 0; k < output_size; ++k) {
                m_weights[i][j][k] = beta1 * m_weights[i][j][k] + (1 - beta1) * deltas[i][k] * activations[i][j];
                v_weights[i][j][k] = beta2 * v_weights[i][j][k] + (1 - beta2) * pow(deltas[i][k] * activations[i][j], 2);
                double lrmw = learning_rate * m_weights[i][j][k];
                double sqvwe = sqrt(v_weights[i][j][k]) + epsilon;
                double temp = lrmw / sqvwe;
                weights[i][j][k] += temp;
                #ifdef DEBUG_PRINT
                printf(" W%d%d%d %f", i, j, k, weights[i][j][k]);
                printf(" Wm%d%d%d %f", i, j, k, m_weights[i][j][k]);
                printf(" Wv%d%d%d %f", i, j, k, v_weights[i][j][k]);
                printf(" Wlrmw%d%d%d %f", i, j, k, lrmw);
                printf(" Wsqvwe%d%d%d %f", i, j, k, sqvwe);
                printf(" Wt%d%d%d %f", i, j, k, temp);
                printf("\n");
                #endif
            }
        }
        for (int k = 0; k < output_size; ++k) {
            m_biases[i][k] = beta1 * m_biases[i][k] + (1 - beta1) * deltas[i][k];
            v_biases[i][k] = beta2 * v_biases[i][k] + (1 - beta2) * pow(deltas[i][k], 2);
            biases[i][k] += learning_rate * m_biases[i][k] / (sqrt(v_biases[i][k]) + epsilon);
        }
    }
}
```

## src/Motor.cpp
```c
#include "Motor.h"

#if !DT_NODE_EXISTS(DT_NODELABEL(s_pwm6)) || !DT_NODE_EXISTS(DT_NODELABEL(s_pwm7)) || !DT_NODE_EXISTS(DT_NODELABEL(s_pwm8)) || !DT_NODE_EXISTS(DT_NODELABEL(s_pwm9))
// Fallback PWM specs when PCA9685 PWM LEDs are not available
struct pwm_dt_spec motor_pwm_left_forward = {.dev = NULL, .channel = 6, .period = PWM_MSEC(5), .flags = 0};
struct pwm_dt_spec motor_pwm_left_reverse = {.dev = NULL, .channel = 7, .period = PWM_MSEC(5), .flags = 0};
struct pwm_dt_spec motor_pwm_right_forward = {.dev = NULL, .channel = 9, .period = PWM_MSEC(5), .flags = 0};
struct pwm_dt_spec motor_pwm_right_reverse = {.dev = NULL, .channel = 8, .period = PWM_MSEC(5), .flags = 0};
#endif

int initialize_pwm_driver(){
#if DT_NODE_EXISTS(DT_NODELABEL(pca9685))
    // Initialize PCA9685 PWM controller on I2C bus
    const struct device *const pca9685 = DEVICE_DT_GET(DT_NODELABEL(pca9685));

    if (!device_is_ready(pca9685)) {
        printk("PCA9685 device %s is not ready. Waiting...\n", pca9685->name);
        int timeout = 100; // 10 second timeout
        while(!device_is_ready(pca9685) && --timeout > 0) {
            k_sleep(K_MSEC(100));
        }
        if (timeout <= 0) {
            printk("PCA9685 device timeout - motor control will not work\n");
            return -1;
        }
    }
    printk("PCA9685 %s ready\n", pca9685->name);

    // PWM channels are now configured via device tree - no manual assignment needed

    // Check if PWM channels are ready
    if (motor_pwm_left_forward.dev && !pwm_is_ready_dt(&motor_pwm_left_forward)) {
        printk("Error: PWM device %s is not ready\n",
               motor_pwm_left_forward.dev->name);
        return -1;
    }

    printk("All motor PWM channels ready\n");
    return 0;
#else
    printk("PCA9685 PWM controller not configured in device tree\n");
    printk("Motor control will be in simulation mode\n");
    return -1;
#endif
}
```

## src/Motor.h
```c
// Motor.h
#ifndef MOTOR_H
#define MOTOR_H

#include <zephyr/kernel.h>
#include <zephyr/devicetree.h>
#include <zephyr/drivers/pwm.h>
#include <stdio.h>

// Motor control PWM channels - using PCA9685 I2C PWM controller
#if DT_NODE_EXISTS(DT_NODELABEL(s_pwm6)) && DT_NODE_EXISTS(DT_NODELABEL(s_pwm7)) && DT_NODE_EXISTS(DT_NODELABEL(s_pwm8)) && DT_NODE_EXISTS(DT_NODELABEL(s_pwm9))
const struct pwm_dt_spec  motor_pwm_left_forward = PWM_DT_SPEC_GET_BY_IDX(DT_NODELABEL(s_pwm6), 0);
const struct pwm_dt_spec  motor_pwm_left_reverse = PWM_DT_SPEC_GET_BY_IDX(DT_NODELABEL(s_pwm7), 0);
const struct pwm_dt_spec motor_pwm_right_forward = PWM_DT_SPEC_GET_BY_IDX(DT_NODELABEL(s_pwm9), 0);
const struct pwm_dt_spec motor_pwm_right_reverse = PWM_DT_SPEC_GET_BY_IDX(DT_NODELABEL(s_pwm8), 0);
#else
// Fallback PWM specs when PCA9685 PWM LEDs are not available
extern struct pwm_dt_spec motor_pwm_left_forward;
extern struct pwm_dt_spec motor_pwm_left_reverse;
extern struct pwm_dt_spec motor_pwm_right_forward;
extern struct pwm_dt_spec motor_pwm_right_reverse;
#endif

#define PWM_PERIOD PWM_MSEC(5)

int initialize_pwm_driver();

inline int32_t set_motor_speed(int16_t motor_left, int16_t motor_right){
	// Check if PWM controller is available
	if (!motor_pwm_left_forward.dev) {
		// Simulation mode - just log motor speeds occasionally
		static int counter = 0;
		if (counter++ % 50 == 0) {
			printk("Motor simulation - Left: %d, Right: %d\n", motor_left, motor_right);
		}
		return 0;
	}

	// Set the motor speeds using PCA9685 PWM controller
	int ret = 0;
	
	if(motor_left >= 0){
		//Forward direction
		ret = pwm_set_dt(&motor_pwm_left_forward, PWM_PERIOD, PWM_USEC(motor_left * 5));
		if (ret) {
			goto error;
		}
		ret = pwm_set_dt(&motor_pwm_left_reverse, PWM_PERIOD, PWM_USEC(0));
		if (ret) {
			goto error;
		}
	}
	else{
		//Reverse direction
		ret = pwm_set_dt(&motor_pwm_left_reverse, PWM_PERIOD, PWM_USEC(-motor_left * 5));
		if (ret) {
			goto error;
		}
		ret = pwm_set_dt(&motor_pwm_left_forward, PWM_PERIOD, PWM_USEC(0));
		if (ret) {
			goto error;
		}
	}

	if(motor_right >= 0){
		//Forward direction
		ret = pwm_set_dt(&motor_pwm_right_forward, PWM_PERIOD, PWM_USEC(motor_right * 5));
		if (ret) {
			goto error;
		}
		ret = pwm_set_dt(&motor_pwm_right_reverse, PWM_PERIOD, PWM_USEC(0));
		if (ret) {
            goto error;
		}
	}
	else{
		//Reverse direction
		ret = pwm_set_dt(&motor_pwm_right_reverse, PWM_PERIOD, PWM_USEC(-motor_right * 5));
		if (ret) {
			goto error;
		}
		ret = pwm_set_dt(&motor_pwm_right_forward, PWM_PERIOD, PWM_USEC(0));
		if (ret) {
			goto error;
		}
	}
	return 0;
error:
    printk("Error %d: failed to set pulse width\n", ret);
    return -1;
}



#endif
```
